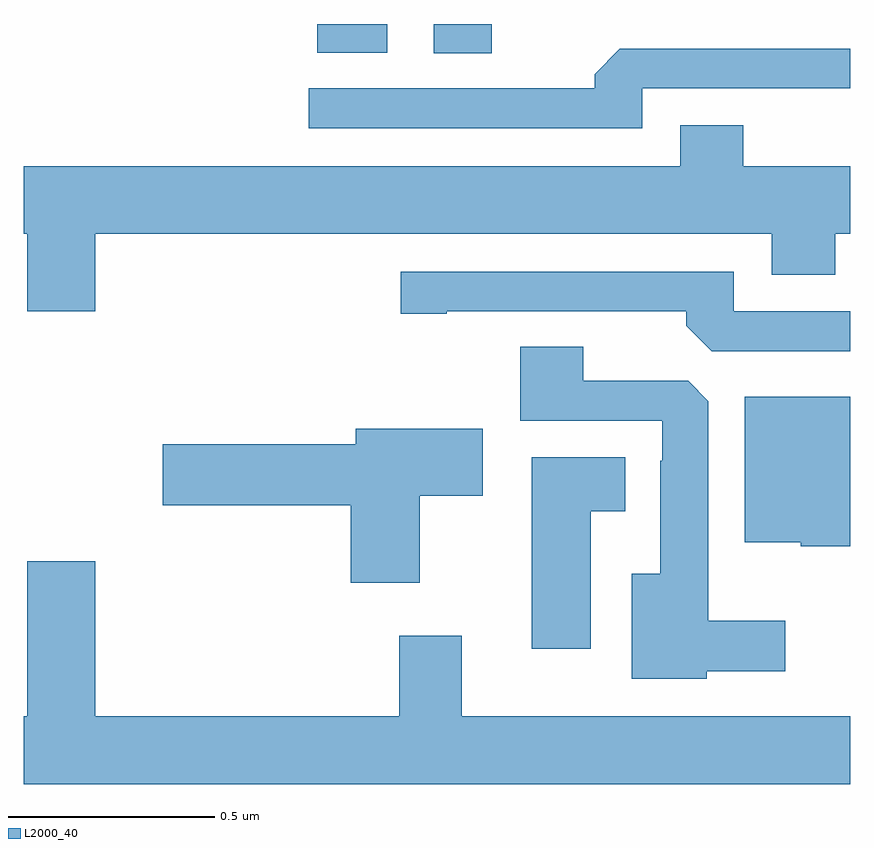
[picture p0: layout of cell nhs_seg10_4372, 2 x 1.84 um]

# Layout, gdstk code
import gdstk
lib = gdstk.Library(unit=1e-6, precision=1e-09)
def R(c, l, rs):  # rectangles x0, y0, x1, y1
    for r in rs: c.add(gdstk.rectangle(r[:2], r[2:], *l))
def P(c, l, *ps):  # polygons
    for p in ps: c.add(gdstk.Polygon(p, *l))
L2000_40 = (2000, 40)

nhs_seg10_4372 = lib.new_cell('nhs_seg10_4372')
R(nhs_seg10_4372, L2000_40, [(165.992,1291.429,166.132,1291.5), (165.71,1291.431,165.88,1291.5)])
P(nhs_seg10_4372, L2000_40, [(166.497,1291.344),(167,1291.344),(167,1291.44),(166.443,1291.44),(166.382,1291.378),(166.382,1291.344),(165.69,1291.344),(165.69,1291.248),(166.497,1291.248)],
  [(165.172,1290.992),(166.811,1290.992),(166.811,1290.893),(166.964,1290.893),(166.964,1290.992),(167,1290.992),(167,1291.156),(166.742,1291.156),(166.742,1291.255),(166.589,1291.255),(166.589,1291.156),(165,1291.156),(165,1290.992),(165.008,1290.992),(165.008,1290.804),(165.172,1290.804)],
  [(167,1290.804),(166.719,1290.804),(166.719,1290.9),(165.912,1290.9),(165.912,1290.799),(166.024,1290.799),(166.024,1290.804),(166.604,1290.804),(166.604,1290.77),(166.665,1290.708),(167,1290.708)],
  [(166.653,1289.933),(166.843,1289.933),(166.843,1290.055),(166.657,1290.055),(166.657,1290.587),(166.608,1290.636),(166.354,1290.636),(166.354,1290.719),(166.202,1290.719),(166.202,1290.54),(166.545,1290.54),(166.545,1290.443),(166.541,1290.443),(166.541,1290.169),(166.472,1290.169),(166.472,1289.915),(166.653,1289.915)],
  [(167,1290.598),(166.745,1290.598),(166.745,1290.245),(166.881,1290.245),(166.881,1290.236),(167,1290.236)],
  [(165.958,1290.358),(166.111,1290.358),(166.111,1290.52),(165.803,1290.52),(165.803,1290.482),(165.336,1290.482),(165.336,1290.335),(165.791,1290.335),(165.791,1290.147),(165.958,1290.147)],
  [(166.372,1290.32),(166.456,1290.32),(166.456,1290.451),(166.229,1290.451),(166.229,1289.988),(166.372,1289.988)],
  [(167,1289.824),(166.06,1289.824),(166.06,1290.019),(165.908,1290.019),(165.908,1289.824),(165.172,1289.824),(165.172,1290.199),(165.008,1290.199),(165.008,1289.824),(165,1289.824),(165,1289.66),(167,1289.66)])

lib.write_gds('nhs_seg10_4372.gds')
